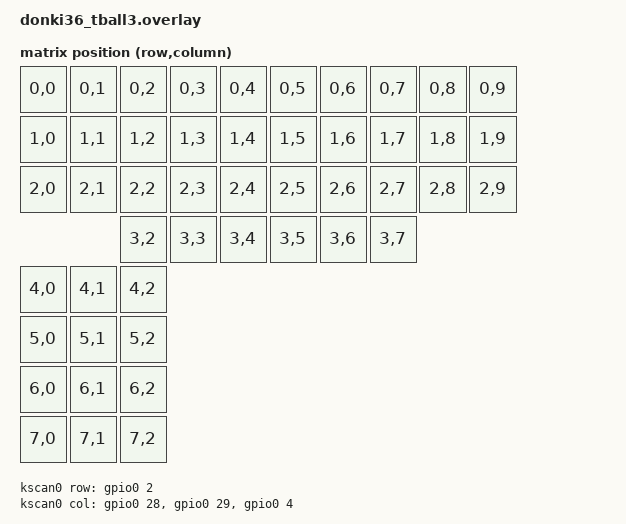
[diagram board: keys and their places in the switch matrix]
/*
 * Copyright (c) 2020 Pete Johanson
 *
 * SPDX-License-Identifier: MIT
 */

#include <dt-bindings/zmk/matrix_transform.h>

/ {
	chosen {
		zmk,kscan = &kscan0;
		zmk,matrix-transform = &default_transform;
	};

	default_transform: keymap_transform_0 {
		compatible = "zmk,matrix-transform";
		columns = <10>;
		rows = <8>;
		map = <
RC(0,0) RC(0,1) RC(0,2) RC(0,3) RC(0,4)  RC(0,5) RC(0,6) RC(0,7) RC(0,8) RC(0,9)
RC(1,0) RC(1,1) RC(1,2) RC(1,3) RC(1,4)  RC(1,5) RC(1,6) RC(1,7) RC(1,8) RC(1,9)
RC(2,0) RC(2,1) RC(2,2) RC(2,3) RC(2,4)  RC(2,5) RC(2,6) RC(2,7) RC(2,8) RC(2,9)
                RC(3,2) RC(3,3) RC(3,4)  RC(3,5) RC(3,6) RC(3,7)
RC(4,0) RC(4,1) RC(4,2)
RC(5,0) RC(5,1) RC(5,2)
RC(6,0) RC(6,1) RC(6,2)
RC(7,0) RC(7,1) RC(7,2)
		>;
		row-offset = <4>;
		col-offset = <0>;
	};

	kscan0: kscan {
		compatible = "zmk,kscan-gpio-matrix";
		label = "KSCAN";
		diode-direction = "col2row";
		wakeup-source;
		row-gpios
			= <&gpio0 2 (GPIO_ACTIVE_HIGH | GPIO_PULL_DOWN)>;
		col-gpios
			= <&gpio0 28 GPIO_ACTIVE_HIGH>
			, <&gpio0 29 GPIO_ACTIVE_HIGH>
			, <&gpio0 4 GPIO_ACTIVE_HIGH>
			;
	};
};

#include "donki36__esb_addr.dtsi"

#include <input/processors/report_rate_limit.dtsi>
#include <input/processors/xyz.dtsi>

#include "donki36_tball3_paw3222.dtsi"
#include <dt-bindings/zmk/input_transform.h>
#include <input/processors.dtsi>
#include <input/processors/mixer.dtsi>
/{
	tball3_zip_mixer: tball3_zip_mixer {
			compatible = "zmk,input-processor-mixer";
			#input-processor-cells = <1>;
			sync-report-ms = <1>;
			sync-report-yaw-ms = <30>;
			yaw-div = <1>;
			yaw-equator-threshold = <20>;
			yaw-min-per-tick = <37>;
			yaw-val-per-tick = <1>;
	};
};

// #include "donki36_zplit.dtsi"

/{
  split_inputs {
    #address-cells = <1>;
    #size-cells = <0>;

		tball0_split: tball0@0 { compatible = "zmk,input-split"; reg = <0>; status = "disabled"; };
    tball1_split: tball1@1 { compatible = "zmk,input-split"; reg = <1>; status = "disabled"; };
    tball2_split: tbal12@6 { compatible = "zmk,input-split"; reg = <6>; status = "disabled"; };

    tball3_split: tball3@9 {
			compatible = "zmk,input-split"; reg = <9>;
			device = <&tball3_zip_mixer>; 
			input-processors = <&zip_xyz>;
		};
		tball3_split_s0: tball3_split_s0@91 {
			compatible = "zmk,input-split"; reg = <91>;
			device = <&pd0>;
			// sensor at 6 o'clock pos
			input-processors = <&zip_xy_swap_mapper>
												, <&zip_xy_transform (INPUT_TRANSFORM_Y_INVERT)>
												, <&tball3_zip_mixer 0>;
		};
		tball3_split_s1: tball3_split_s1@92 {
			compatible = "zmk,input-split"; reg = <92>;
			device = <&pd0a>;
			// sensor at 3 o'clock pos
			input-processors = <&tball3_zip_mixer 1>;
		};

		tpoint0_split: tpoint0@2 { compatible = "zmk,input-split"; reg = <2>; status = "disabled"; };
    tpad0_split: tpad0@3 { compatible = "zmk,input-split"; reg = <3>; status = "disabled"; };
    mou0_split: mou0@4 { compatible = "zmk,input-split"; reg = <4>; status = "disabled"; };
    mou1_split: mou1@5 { compatible = "zmk,input-split"; reg = <5>; status = "disabled"; };
    mou2_split: mou2@7 { compatible = "zmk,input-split"; reg = <7>; status = "disabled"; };
    mou2_split_alt: mou2_alt@8 { compatible = "zmk,input-split"; reg = <8>; status = "disabled"; };

	};
};
